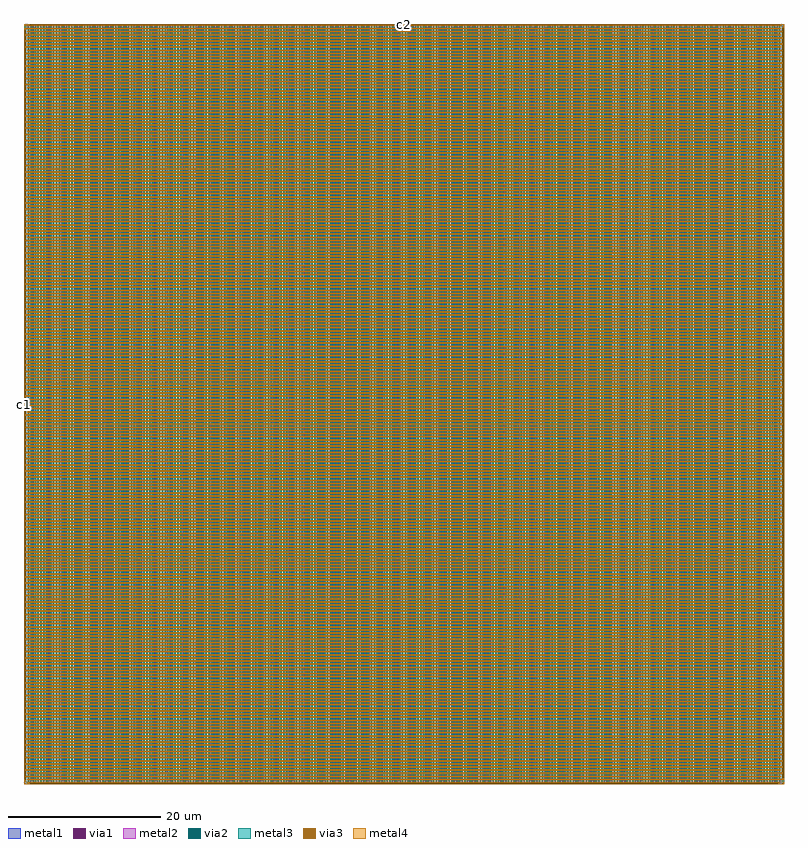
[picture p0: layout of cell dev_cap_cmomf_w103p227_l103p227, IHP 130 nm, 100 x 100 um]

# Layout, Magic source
magic
tech ihp-sg13cmos5l
magscale 1 2
<< metal1 >>
rect 0 19861 54 20000
rect 90 19999 20000 20000
rect 90 19959 136 19999
rect 19904 19959 20000 19999
rect 90 19958 20000 19959
rect 0 99 1 19861
rect 41 99 54 19861
rect 0 42 54 99
rect 90 42 122 19922
rect 158 78 190 19958
rect 226 42 258 19922
rect 294 78 326 19958
rect 362 42 394 19922
rect 430 78 462 19958
rect 498 42 530 19922
rect 566 78 598 19958
rect 634 42 666 19922
rect 702 78 734 19958
rect 770 42 802 19922
rect 838 78 870 19958
rect 906 42 938 19922
rect 974 78 1006 19958
rect 1042 42 1074 19922
rect 1110 78 1142 19958
rect 1178 42 1210 19922
rect 1246 78 1278 19958
rect 1314 42 1346 19922
rect 1382 78 1414 19958
rect 1450 42 1482 19922
rect 1518 78 1550 19958
rect 1586 42 1618 19922
rect 1654 78 1686 19958
rect 1722 42 1754 19922
rect 1790 78 1822 19958
rect 1858 42 1890 19922
rect 1926 78 1958 19958
rect 1994 42 2026 19922
rect 2062 78 2094 19958
rect 2130 42 2162 19922
rect 2198 78 2230 19958
rect 2266 42 2298 19922
rect 2334 78 2366 19958
rect 2402 42 2434 19922
rect 2470 78 2502 19958
rect 2538 42 2570 19922
rect 2606 78 2638 19958
rect 2674 42 2706 19922
rect 2742 78 2774 19958
rect 2810 42 2842 19922
rect 2878 78 2910 19958
rect 2946 42 2978 19922
rect 3014 78 3046 19958
rect 3082 42 3114 19922
rect 3150 78 3182 19958
rect 3218 42 3250 19922
rect 3286 78 3318 19958
rect 3354 42 3386 19922
rect 3422 78 3454 19958
rect 3490 42 3522 19922
rect 3558 78 3590 19958
rect 3626 42 3658 19922
rect 3694 78 3726 19958
rect 3762 42 3794 19922
rect 3830 78 3862 19958
rect 3898 42 3930 19922
rect 3966 78 3998 19958
rect 4034 42 4066 19922
rect 4102 78 4134 19958
rect 4170 42 4202 19922
rect 4238 78 4270 19958
rect 4306 42 4338 19922
rect 4374 78 4406 19958
rect 4442 42 4474 19922
rect 4510 78 4542 19958
rect 4578 42 4610 19922
rect 4646 78 4678 19958
rect 4714 42 4746 19922
rect 4782 78 4814 19958
rect 4850 42 4882 19922
rect 4918 78 4950 19958
rect 4986 42 5018 19922
rect 5054 78 5086 19958
rect 5122 42 5154 19922
rect 5190 78 5222 19958
rect 5258 42 5290 19922
rect 5326 78 5358 19958
rect 5394 42 5426 19922
rect 5462 78 5494 19958
rect 5530 42 5562 19922
rect 5598 78 5630 19958
rect 5666 42 5698 19922
rect 5734 78 5766 19958
rect 5802 42 5834 19922
rect 5870 78 5902 19958
rect 5938 42 5970 19922
rect 6006 78 6038 19958
rect 6074 42 6106 19922
rect 6142 78 6174 19958
rect 6210 42 6242 19922
rect 6278 78 6310 19958
rect 6346 42 6378 19922
rect 6414 78 6446 19958
rect 6482 42 6514 19922
rect 6550 78 6582 19958
rect 6618 42 6650 19922
rect 6686 78 6718 19958
rect 6754 42 6786 19922
rect 6822 78 6854 19958
rect 6890 42 6922 19922
rect 6958 78 6990 19958
rect 7026 42 7058 19922
rect 7094 78 7126 19958
rect 7162 42 7194 19922
rect 7230 78 7262 19958
rect 7298 42 7330 19922
rect 7366 78 7398 19958
rect 7434 42 7466 19922
rect 7502 78 7534 19958
rect 7570 42 7602 19922
rect 7638 78 7670 19958
rect 7706 42 7738 19922
rect 7774 78 7806 19958
rect 7842 42 7874 19922
rect 7910 78 7942 19958
rect 7978 42 8010 19922
rect 8046 78 8078 19958
rect 8114 42 8146 19922
rect 8182 78 8214 19958
rect 8250 42 8282 19922
rect 8318 78 8350 19958
rect 8386 42 8418 19922
rect 8454 78 8486 19958
rect 8522 42 8554 19922
rect 8590 78 8622 19958
rect 8658 42 8690 19922
rect 8726 78 8758 19958
rect 8794 42 8826 19922
rect 8862 78 8894 19958
rect 8930 42 8962 19922
rect 8998 78 9030 19958
rect 9066 42 9098 19922
rect 9134 78 9166 19958
rect 9202 42 9234 19922
rect 9270 78 9302 19958
rect 9338 42 9370 19922
rect 9406 78 9438 19958
rect 9474 42 9506 19922
rect 9542 78 9574 19958
rect 9610 42 9642 19922
rect 9678 78 9710 19958
rect 9746 42 9778 19922
rect 9814 78 9846 19958
rect 9882 42 9914 19922
rect 9950 78 9982 19958
rect 10018 42 10050 19922
rect 10086 78 10118 19958
rect 10154 42 10186 19922
rect 10222 78 10254 19958
rect 10290 42 10322 19922
rect 10358 78 10390 19958
rect 10426 42 10458 19922
rect 10494 78 10526 19958
rect 10562 42 10594 19922
rect 10630 78 10662 19958
rect 10698 42 10730 19922
rect 10766 78 10798 19958
rect 10834 42 10866 19922
rect 10902 78 10934 19958
rect 10970 42 11002 19922
rect 11038 78 11070 19958
rect 11106 42 11138 19922
rect 11174 78 11206 19958
rect 11242 42 11274 19922
rect 11310 78 11342 19958
rect 11378 42 11410 19922
rect 11446 78 11478 19958
rect 11514 42 11546 19922
rect 11582 78 11614 19958
rect 11650 42 11682 19922
rect 11718 78 11750 19958
rect 11786 42 11818 19922
rect 11854 78 11886 19958
rect 11922 42 11954 19922
rect 11990 78 12022 19958
rect 12058 42 12090 19922
rect 12126 78 12158 19958
rect 12194 42 12226 19922
rect 12262 78 12294 19958
rect 12330 42 12362 19922
rect 12398 78 12430 19958
rect 12466 42 12498 19922
rect 12534 78 12566 19958
rect 12602 42 12634 19922
rect 12670 78 12702 19958
rect 12738 42 12770 19922
rect 12806 78 12838 19958
rect 12874 42 12906 19922
rect 12942 78 12974 19958
rect 13010 42 13042 19922
rect 13078 78 13110 19958
rect 13146 42 13178 19922
rect 13214 78 13246 19958
rect 13282 42 13314 19922
rect 13350 78 13382 19958
rect 13418 42 13450 19922
rect 13486 78 13518 19958
rect 13554 42 13586 19922
rect 13622 78 13654 19958
rect 13690 42 13722 19922
rect 13758 78 13790 19958
rect 13826 42 13858 19922
rect 13894 78 13926 19958
rect 13962 42 13994 19922
rect 14030 78 14062 19958
rect 14098 42 14130 19922
rect 14166 78 14198 19958
rect 14234 42 14266 19922
rect 14302 78 14334 19958
rect 14370 42 14402 19922
rect 14438 78 14470 19958
rect 14506 42 14538 19922
rect 14574 78 14606 19958
rect 14642 42 14674 19922
rect 14710 78 14742 19958
rect 14778 42 14810 19922
rect 14846 78 14878 19958
rect 14914 42 14946 19922
rect 14982 78 15014 19958
rect 15050 42 15082 19922
rect 15118 78 15150 19958
rect 15186 42 15218 19922
rect 15254 78 15286 19958
rect 15322 42 15354 19922
rect 15390 78 15422 19958
rect 15458 42 15490 19922
rect 15526 78 15558 19958
rect 15594 42 15626 19922
rect 15662 78 15694 19958
rect 15730 42 15762 19922
rect 15798 78 15830 19958
rect 15866 42 15898 19922
rect 15934 78 15966 19958
rect 16002 42 16034 19922
rect 16070 78 16102 19958
rect 16138 42 16170 19922
rect 16206 78 16238 19958
rect 16274 42 16306 19922
rect 16342 78 16374 19958
rect 16410 42 16442 19922
rect 16478 78 16510 19958
rect 16546 42 16578 19922
rect 16614 78 16646 19958
rect 16682 42 16714 19922
rect 16750 78 16782 19958
rect 16818 42 16850 19922
rect 16886 78 16918 19958
rect 16954 42 16986 19922
rect 17022 78 17054 19958
rect 17090 42 17122 19922
rect 17158 78 17190 19958
rect 17226 42 17258 19922
rect 17294 78 17326 19958
rect 17362 42 17394 19922
rect 17430 78 17462 19958
rect 17498 42 17530 19922
rect 17566 78 17598 19958
rect 17634 42 17666 19922
rect 17702 78 17734 19958
rect 17770 42 17802 19922
rect 17838 78 17870 19958
rect 17906 42 17938 19922
rect 17974 78 18006 19958
rect 18042 42 18074 19922
rect 18110 78 18142 19958
rect 18178 42 18210 19922
rect 18246 78 18278 19958
rect 18314 42 18346 19922
rect 18382 78 18414 19958
rect 18450 42 18482 19922
rect 18518 78 18550 19958
rect 18586 42 18618 19922
rect 18654 78 18686 19958
rect 18722 42 18754 19922
rect 18790 78 18822 19958
rect 18858 42 18890 19922
rect 18926 78 18958 19958
rect 18994 42 19026 19922
rect 19062 78 19094 19958
rect 19130 42 19162 19922
rect 19198 78 19230 19958
rect 19266 42 19298 19922
rect 19334 78 19366 19958
rect 19402 42 19434 19922
rect 19470 78 19502 19958
rect 19538 42 19570 19922
rect 19606 78 19638 19958
rect 19674 42 19706 19922
rect 19742 78 19774 19958
rect 19810 42 19842 19922
rect 19878 78 19910 19958
rect 19946 19901 20000 19958
rect 19946 139 19959 19901
rect 19999 139 20000 19901
rect 0 41 19910 42
rect 0 1 136 41
rect 19864 1 19910 41
rect 0 0 19910 1
rect 19946 0 20000 139
<< via1 >>
rect 136 19959 19904 19999
rect 1 99 41 19861
rect 19959 139 19999 19901
rect 136 1 19864 41
<< metal2 >>
rect 0 19999 139 20000
rect 19901 19999 20000 20000
rect 0 19959 136 19999
rect 19904 19959 20000 19999
rect 0 19943 20000 19959
rect 19959 19901 20000 19943
rect 0 19861 19916 19901
rect 84 19779 19959 19819
rect 41 19697 19916 19737
rect 84 19615 19959 19655
rect 41 19533 19916 19573
rect 84 19451 19959 19491
rect 41 19369 19916 19409
rect 84 19287 19959 19327
rect 41 19205 19916 19245
rect 84 19123 19959 19163
rect 41 19041 19916 19081
rect 84 18959 19959 18999
rect 41 18877 19916 18917
rect 84 18795 19959 18835
rect 41 18713 19916 18753
rect 84 18631 19959 18671
rect 41 18549 19916 18589
rect 84 18467 19959 18507
rect 41 18385 19916 18425
rect 84 18303 19959 18343
rect 41 18221 19916 18261
rect 84 18139 19959 18179
rect 41 18057 19916 18097
rect 84 17975 19959 18015
rect 41 17893 19916 17933
rect 84 17811 19959 17851
rect 41 17729 19916 17769
rect 84 17647 19959 17687
rect 41 17565 19916 17605
rect 84 17483 19959 17523
rect 41 17401 19916 17441
rect 84 17319 19959 17359
rect 41 17237 19916 17277
rect 84 17155 19959 17195
rect 41 17073 19916 17113
rect 84 16991 19959 17031
rect 41 16909 19916 16949
rect 84 16827 19959 16867
rect 41 16745 19916 16785
rect 84 16663 19959 16703
rect 41 16581 19916 16621
rect 84 16499 19959 16539
rect 41 16417 19916 16457
rect 84 16335 19959 16375
rect 41 16253 19916 16293
rect 84 16171 19959 16211
rect 41 16089 19916 16129
rect 84 16007 19959 16047
rect 41 15925 19916 15965
rect 84 15843 19959 15883
rect 41 15761 19916 15801
rect 84 15679 19959 15719
rect 41 15597 19916 15637
rect 84 15515 19959 15555
rect 41 15433 19916 15473
rect 84 15351 19959 15391
rect 41 15269 19916 15309
rect 84 15187 19959 15227
rect 41 15105 19916 15145
rect 84 15023 19959 15063
rect 41 14941 19916 14981
rect 84 14859 19959 14899
rect 41 14777 19916 14817
rect 84 14695 19959 14735
rect 41 14613 19916 14653
rect 84 14531 19959 14571
rect 41 14449 19916 14489
rect 84 14367 19959 14407
rect 41 14285 19916 14325
rect 84 14203 19959 14243
rect 41 14121 19916 14161
rect 84 14039 19959 14079
rect 41 13957 19916 13997
rect 84 13875 19959 13915
rect 41 13793 19916 13833
rect 84 13711 19959 13751
rect 41 13629 19916 13669
rect 84 13547 19959 13587
rect 41 13465 19916 13505
rect 84 13383 19959 13423
rect 41 13301 19916 13341
rect 84 13219 19959 13259
rect 41 13137 19916 13177
rect 84 13055 19959 13095
rect 41 12973 19916 13013
rect 84 12891 19959 12931
rect 41 12809 19916 12849
rect 84 12727 19959 12767
rect 41 12645 19916 12685
rect 84 12563 19959 12603
rect 41 12481 19916 12521
rect 84 12399 19959 12439
rect 41 12317 19916 12357
rect 84 12235 19959 12275
rect 41 12153 19916 12193
rect 84 12071 19959 12111
rect 41 11989 19916 12029
rect 84 11907 19959 11947
rect 41 11825 19916 11865
rect 84 11743 19959 11783
rect 41 11661 19916 11701
rect 84 11579 19959 11619
rect 41 11497 19916 11537
rect 84 11415 19959 11455
rect 41 11333 19916 11373
rect 84 11251 19959 11291
rect 41 11169 19916 11209
rect 84 11087 19959 11127
rect 41 11005 19916 11045
rect 84 10923 19959 10963
rect 41 10841 19916 10881
rect 84 10759 19959 10799
rect 41 10677 19916 10717
rect 84 10595 19959 10635
rect 41 10513 19916 10553
rect 84 10431 19959 10471
rect 41 10349 19916 10389
rect 84 10267 19959 10307
rect 41 10185 19916 10225
rect 84 10103 19959 10143
rect 41 10021 19916 10061
rect 84 9939 19959 9979
rect 41 9857 19916 9897
rect 84 9775 19959 9815
rect 41 9693 19916 9733
rect 84 9611 19959 9651
rect 41 9529 19916 9569
rect 84 9447 19959 9487
rect 41 9365 19916 9405
rect 84 9283 19959 9323
rect 41 9201 19916 9241
rect 84 9119 19959 9159
rect 41 9037 19916 9077
rect 84 8955 19959 8995
rect 41 8873 19916 8913
rect 84 8791 19959 8831
rect 41 8709 19916 8749
rect 84 8627 19959 8667
rect 41 8545 19916 8585
rect 84 8463 19959 8503
rect 41 8381 19916 8421
rect 84 8299 19959 8339
rect 41 8217 19916 8257
rect 84 8135 19959 8175
rect 41 8053 19916 8093
rect 84 7971 19959 8011
rect 41 7889 19916 7929
rect 84 7807 19959 7847
rect 41 7725 19916 7765
rect 84 7643 19959 7683
rect 41 7561 19916 7601
rect 84 7479 19959 7519
rect 41 7397 19916 7437
rect 84 7315 19959 7355
rect 41 7233 19916 7273
rect 84 7151 19959 7191
rect 41 7069 19916 7109
rect 84 6987 19959 7027
rect 41 6905 19916 6945
rect 84 6823 19959 6863
rect 41 6741 19916 6781
rect 84 6659 19959 6699
rect 41 6577 19916 6617
rect 84 6495 19959 6535
rect 41 6413 19916 6453
rect 84 6331 19959 6371
rect 41 6249 19916 6289
rect 84 6167 19959 6207
rect 41 6085 19916 6125
rect 84 6003 19959 6043
rect 41 5921 19916 5961
rect 84 5839 19959 5879
rect 41 5757 19916 5797
rect 84 5675 19959 5715
rect 41 5593 19916 5633
rect 84 5511 19959 5551
rect 41 5429 19916 5469
rect 84 5347 19959 5387
rect 41 5265 19916 5305
rect 84 5183 19959 5223
rect 41 5101 19916 5141
rect 84 5019 19959 5059
rect 41 4937 19916 4977
rect 84 4855 19959 4895
rect 41 4773 19916 4813
rect 84 4691 19959 4731
rect 41 4609 19916 4649
rect 84 4527 19959 4567
rect 41 4445 19916 4485
rect 84 4363 19959 4403
rect 41 4281 19916 4321
rect 84 4199 19959 4239
rect 41 4117 19916 4157
rect 84 4035 19959 4075
rect 41 3953 19916 3993
rect 84 3871 19959 3911
rect 41 3789 19916 3829
rect 84 3707 19959 3747
rect 41 3625 19916 3665
rect 84 3543 19959 3583
rect 41 3461 19916 3501
rect 84 3379 19959 3419
rect 41 3297 19916 3337
rect 84 3215 19959 3255
rect 41 3133 19916 3173
rect 84 3051 19959 3091
rect 41 2969 19916 3009
rect 84 2887 19959 2927
rect 41 2805 19916 2845
rect 84 2723 19959 2763
rect 41 2641 19916 2681
rect 84 2559 19959 2599
rect 41 2477 19916 2517
rect 84 2395 19959 2435
rect 41 2313 19916 2353
rect 84 2231 19959 2271
rect 41 2149 19916 2189
rect 84 2067 19959 2107
rect 41 1985 19916 2025
rect 84 1903 19959 1943
rect 41 1821 19916 1861
rect 84 1739 19959 1779
rect 41 1657 19916 1697
rect 84 1575 19959 1615
rect 41 1493 19916 1533
rect 84 1411 19959 1451
rect 41 1329 19916 1369
rect 84 1247 19959 1287
rect 41 1165 19916 1205
rect 84 1083 19959 1123
rect 41 1001 19916 1041
rect 84 919 19959 959
rect 41 837 19916 877
rect 84 755 19959 795
rect 41 673 19916 713
rect 84 591 19959 631
rect 41 509 19916 549
rect 84 427 19959 467
rect 41 345 19916 385
rect 84 263 19959 303
rect 41 181 19916 221
rect 84 99 20000 139
rect 0 57 41 99
rect 0 41 20000 57
rect 0 1 136 41
rect 19864 1 20000 41
rect 0 0 139 1
rect 19861 0 20000 1
<< via2 >>
rect 139 19999 19901 20000
rect 139 19960 19901 19999
rect 0 99 1 19861
rect 1 99 40 19861
rect 19960 139 19999 19901
rect 19999 139 20000 19901
rect 139 1 19861 40
rect 139 0 19861 1
<< metal3 >>
rect 0 19861 57 20000
rect 99 19960 139 20000
rect 19901 19960 20000 20000
rect 40 99 57 19861
rect 0 40 57 99
rect 99 40 139 19918
rect 181 82 221 19960
rect 263 40 303 19918
rect 345 82 385 19960
rect 427 40 467 19918
rect 509 82 549 19960
rect 591 40 631 19918
rect 673 82 713 19960
rect 755 40 795 19918
rect 837 82 877 19960
rect 919 40 959 19918
rect 1001 82 1041 19960
rect 1083 40 1123 19918
rect 1165 82 1205 19960
rect 1247 40 1287 19918
rect 1329 82 1369 19960
rect 1411 40 1451 19918
rect 1493 82 1533 19960
rect 1575 40 1615 19918
rect 1657 82 1697 19960
rect 1739 40 1779 19918
rect 1821 82 1861 19960
rect 1903 40 1943 19918
rect 1985 82 2025 19960
rect 2067 40 2107 19918
rect 2149 82 2189 19960
rect 2231 40 2271 19918
rect 2313 82 2353 19960
rect 2395 40 2435 19918
rect 2477 82 2517 19960
rect 2559 40 2599 19918
rect 2641 82 2681 19960
rect 2723 40 2763 19918
rect 2805 82 2845 19960
rect 2887 40 2927 19918
rect 2969 82 3009 19960
rect 3051 40 3091 19918
rect 3133 82 3173 19960
rect 3215 40 3255 19918
rect 3297 82 3337 19960
rect 3379 40 3419 19918
rect 3461 82 3501 19960
rect 3543 40 3583 19918
rect 3625 82 3665 19960
rect 3707 40 3747 19918
rect 3789 82 3829 19960
rect 3871 40 3911 19918
rect 3953 82 3993 19960
rect 4035 40 4075 19918
rect 4117 82 4157 19960
rect 4199 40 4239 19918
rect 4281 82 4321 19960
rect 4363 40 4403 19918
rect 4445 82 4485 19960
rect 4527 40 4567 19918
rect 4609 82 4649 19960
rect 4691 40 4731 19918
rect 4773 82 4813 19960
rect 4855 40 4895 19918
rect 4937 82 4977 19960
rect 5019 40 5059 19918
rect 5101 82 5141 19960
rect 5183 40 5223 19918
rect 5265 82 5305 19960
rect 5347 40 5387 19918
rect 5429 82 5469 19960
rect 5511 40 5551 19918
rect 5593 82 5633 19960
rect 5675 40 5715 19918
rect 5757 82 5797 19960
rect 5839 40 5879 19918
rect 5921 82 5961 19960
rect 6003 40 6043 19918
rect 6085 82 6125 19960
rect 6167 40 6207 19918
rect 6249 82 6289 19960
rect 6331 40 6371 19918
rect 6413 82 6453 19960
rect 6495 40 6535 19918
rect 6577 82 6617 19960
rect 6659 40 6699 19918
rect 6741 82 6781 19960
rect 6823 40 6863 19918
rect 6905 82 6945 19960
rect 6987 40 7027 19918
rect 7069 82 7109 19960
rect 7151 40 7191 19918
rect 7233 82 7273 19960
rect 7315 40 7355 19918
rect 7397 82 7437 19960
rect 7479 40 7519 19918
rect 7561 82 7601 19960
rect 7643 40 7683 19918
rect 7725 82 7765 19960
rect 7807 40 7847 19918
rect 7889 82 7929 19960
rect 7971 40 8011 19918
rect 8053 82 8093 19960
rect 8135 40 8175 19918
rect 8217 82 8257 19960
rect 8299 40 8339 19918
rect 8381 82 8421 19960
rect 8463 40 8503 19918
rect 8545 82 8585 19960
rect 8627 40 8667 19918
rect 8709 82 8749 19960
rect 8791 40 8831 19918
rect 8873 82 8913 19960
rect 8955 40 8995 19918
rect 9037 82 9077 19960
rect 9119 40 9159 19918
rect 9201 82 9241 19960
rect 9283 40 9323 19918
rect 9365 82 9405 19960
rect 9447 40 9487 19918
rect 9529 82 9569 19960
rect 9611 40 9651 19918
rect 9693 82 9733 19960
rect 9775 40 9815 19918
rect 9857 82 9897 19960
rect 9939 40 9979 19918
rect 10021 82 10061 19960
rect 10103 40 10143 19918
rect 10185 82 10225 19960
rect 10267 40 10307 19918
rect 10349 82 10389 19960
rect 10431 40 10471 19918
rect 10513 82 10553 19960
rect 10595 40 10635 19918
rect 10677 82 10717 19960
rect 10759 40 10799 19918
rect 10841 82 10881 19960
rect 10923 40 10963 19918
rect 11005 82 11045 19960
rect 11087 40 11127 19918
rect 11169 82 11209 19960
rect 11251 40 11291 19918
rect 11333 82 11373 19960
rect 11415 40 11455 19918
rect 11497 82 11537 19960
rect 11579 40 11619 19918
rect 11661 82 11701 19960
rect 11743 40 11783 19918
rect 11825 82 11865 19960
rect 11907 40 11947 19918
rect 11989 82 12029 19960
rect 12071 40 12111 19918
rect 12153 82 12193 19960
rect 12235 40 12275 19918
rect 12317 82 12357 19960
rect 12399 40 12439 19918
rect 12481 82 12521 19960
rect 12563 40 12603 19918
rect 12645 82 12685 19960
rect 12727 40 12767 19918
rect 12809 82 12849 19960
rect 12891 40 12931 19918
rect 12973 82 13013 19960
rect 13055 40 13095 19918
rect 13137 82 13177 19960
rect 13219 40 13259 19918
rect 13301 82 13341 19960
rect 13383 40 13423 19918
rect 13465 82 13505 19960
rect 13547 40 13587 19918
rect 13629 82 13669 19960
rect 13711 40 13751 19918
rect 13793 82 13833 19960
rect 13875 40 13915 19918
rect 13957 82 13997 19960
rect 14039 40 14079 19918
rect 14121 82 14161 19960
rect 14203 40 14243 19918
rect 14285 82 14325 19960
rect 14367 40 14407 19918
rect 14449 82 14489 19960
rect 14531 40 14571 19918
rect 14613 82 14653 19960
rect 14695 40 14735 19918
rect 14777 82 14817 19960
rect 14859 40 14899 19918
rect 14941 82 14981 19960
rect 15023 40 15063 19918
rect 15105 82 15145 19960
rect 15187 40 15227 19918
rect 15269 82 15309 19960
rect 15351 40 15391 19918
rect 15433 82 15473 19960
rect 15515 40 15555 19918
rect 15597 82 15637 19960
rect 15679 40 15719 19918
rect 15761 82 15801 19960
rect 15843 40 15883 19918
rect 15925 82 15965 19960
rect 16007 40 16047 19918
rect 16089 82 16129 19960
rect 16171 40 16211 19918
rect 16253 82 16293 19960
rect 16335 40 16375 19918
rect 16417 82 16457 19960
rect 16499 40 16539 19918
rect 16581 82 16621 19960
rect 16663 40 16703 19918
rect 16745 82 16785 19960
rect 16827 40 16867 19918
rect 16909 82 16949 19960
rect 16991 40 17031 19918
rect 17073 82 17113 19960
rect 17155 40 17195 19918
rect 17237 82 17277 19960
rect 17319 40 17359 19918
rect 17401 82 17441 19960
rect 17483 40 17523 19918
rect 17565 82 17605 19960
rect 17647 40 17687 19918
rect 17729 82 17769 19960
rect 17811 40 17851 19918
rect 17893 82 17933 19960
rect 17975 40 18015 19918
rect 18057 82 18097 19960
rect 18139 40 18179 19918
rect 18221 82 18261 19960
rect 18303 40 18343 19918
rect 18385 82 18425 19960
rect 18467 40 18507 19918
rect 18549 82 18589 19960
rect 18631 40 18671 19918
rect 18713 82 18753 19960
rect 18795 40 18835 19918
rect 18877 82 18917 19960
rect 18959 40 18999 19918
rect 19041 82 19081 19960
rect 19123 40 19163 19918
rect 19205 82 19245 19960
rect 19287 40 19327 19918
rect 19369 82 19409 19960
rect 19451 40 19491 19918
rect 19533 82 19573 19960
rect 19615 40 19655 19918
rect 19697 82 19737 19960
rect 19779 40 19819 19918
rect 19861 82 19901 19960
rect 19943 19901 20000 19960
rect 19943 139 19960 19901
rect 0 0 139 40
rect 19861 0 19901 40
rect 19943 0 20000 139
<< via3 >>
rect 139 19960 19901 20000
rect 0 99 40 19861
rect 19960 139 20000 19901
rect 139 0 19861 40
<< metal4 >>
rect 0 19960 139 20000
rect 19901 19960 20000 20000
rect 0 19943 20000 19960
rect 19960 19901 20000 19943
rect 0 19861 19918 19901
rect 82 19779 19960 19819
rect 40 19697 19918 19737
rect 82 19615 19960 19655
rect 40 19533 19918 19573
rect 82 19451 19960 19491
rect 40 19369 19918 19409
rect 82 19287 19960 19327
rect 40 19205 19918 19245
rect 82 19123 19960 19163
rect 40 19041 19918 19081
rect 82 18959 19960 18999
rect 40 18877 19918 18917
rect 82 18795 19960 18835
rect 40 18713 19918 18753
rect 82 18631 19960 18671
rect 40 18549 19918 18589
rect 82 18467 19960 18507
rect 40 18385 19918 18425
rect 82 18303 19960 18343
rect 40 18221 19918 18261
rect 82 18139 19960 18179
rect 40 18057 19918 18097
rect 82 17975 19960 18015
rect 40 17893 19918 17933
rect 82 17811 19960 17851
rect 40 17729 19918 17769
rect 82 17647 19960 17687
rect 40 17565 19918 17605
rect 82 17483 19960 17523
rect 40 17401 19918 17441
rect 82 17319 19960 17359
rect 40 17237 19918 17277
rect 82 17155 19960 17195
rect 40 17073 19918 17113
rect 82 16991 19960 17031
rect 40 16909 19918 16949
rect 82 16827 19960 16867
rect 40 16745 19918 16785
rect 82 16663 19960 16703
rect 40 16581 19918 16621
rect 82 16499 19960 16539
rect 40 16417 19918 16457
rect 82 16335 19960 16375
rect 40 16253 19918 16293
rect 82 16171 19960 16211
rect 40 16089 19918 16129
rect 82 16007 19960 16047
rect 40 15925 19918 15965
rect 82 15843 19960 15883
rect 40 15761 19918 15801
rect 82 15679 19960 15719
rect 40 15597 19918 15637
rect 82 15515 19960 15555
rect 40 15433 19918 15473
rect 82 15351 19960 15391
rect 40 15269 19918 15309
rect 82 15187 19960 15227
rect 40 15105 19918 15145
rect 82 15023 19960 15063
rect 40 14941 19918 14981
rect 82 14859 19960 14899
rect 40 14777 19918 14817
rect 82 14695 19960 14735
rect 40 14613 19918 14653
rect 82 14531 19960 14571
rect 40 14449 19918 14489
rect 82 14367 19960 14407
rect 40 14285 19918 14325
rect 82 14203 19960 14243
rect 40 14121 19918 14161
rect 82 14039 19960 14079
rect 40 13957 19918 13997
rect 82 13875 19960 13915
rect 40 13793 19918 13833
rect 82 13711 19960 13751
rect 40 13629 19918 13669
rect 82 13547 19960 13587
rect 40 13465 19918 13505
rect 82 13383 19960 13423
rect 40 13301 19918 13341
rect 82 13219 19960 13259
rect 40 13137 19918 13177
rect 82 13055 19960 13095
rect 40 12973 19918 13013
rect 82 12891 19960 12931
rect 40 12809 19918 12849
rect 82 12727 19960 12767
rect 40 12645 19918 12685
rect 82 12563 19960 12603
rect 40 12481 19918 12521
rect 82 12399 19960 12439
rect 40 12317 19918 12357
rect 82 12235 19960 12275
rect 40 12153 19918 12193
rect 82 12071 19960 12111
rect 40 11989 19918 12029
rect 82 11907 19960 11947
rect 40 11825 19918 11865
rect 82 11743 19960 11783
rect 40 11661 19918 11701
rect 82 11579 19960 11619
rect 40 11497 19918 11537
rect 82 11415 19960 11455
rect 40 11333 19918 11373
rect 82 11251 19960 11291
rect 40 11169 19918 11209
rect 82 11087 19960 11127
rect 40 11005 19918 11045
rect 82 10923 19960 10963
rect 40 10841 19918 10881
rect 82 10759 19960 10799
rect 40 10677 19918 10717
rect 82 10595 19960 10635
rect 40 10513 19918 10553
rect 82 10431 19960 10471
rect 40 10349 19918 10389
rect 82 10267 19960 10307
rect 40 10185 19918 10225
rect 82 10103 19960 10143
rect 40 10021 19918 10061
rect 82 9939 19960 9979
rect 40 9857 19918 9897
rect 82 9775 19960 9815
rect 40 9693 19918 9733
rect 82 9611 19960 9651
rect 40 9529 19918 9569
rect 82 9447 19960 9487
rect 40 9365 19918 9405
rect 82 9283 19960 9323
rect 40 9201 19918 9241
rect 82 9119 19960 9159
rect 40 9037 19918 9077
rect 82 8955 19960 8995
rect 40 8873 19918 8913
rect 82 8791 19960 8831
rect 40 8709 19918 8749
rect 82 8627 19960 8667
rect 40 8545 19918 8585
rect 82 8463 19960 8503
rect 40 8381 19918 8421
rect 82 8299 19960 8339
rect 40 8217 19918 8257
rect 82 8135 19960 8175
rect 40 8053 19918 8093
rect 82 7971 19960 8011
rect 40 7889 19918 7929
rect 82 7807 19960 7847
rect 40 7725 19918 7765
rect 82 7643 19960 7683
rect 40 7561 19918 7601
rect 82 7479 19960 7519
rect 40 7397 19918 7437
rect 82 7315 19960 7355
rect 40 7233 19918 7273
rect 82 7151 19960 7191
rect 40 7069 19918 7109
rect 82 6987 19960 7027
rect 40 6905 19918 6945
rect 82 6823 19960 6863
rect 40 6741 19918 6781
rect 82 6659 19960 6699
rect 40 6577 19918 6617
rect 82 6495 19960 6535
rect 40 6413 19918 6453
rect 82 6331 19960 6371
rect 40 6249 19918 6289
rect 82 6167 19960 6207
rect 40 6085 19918 6125
rect 82 6003 19960 6043
rect 40 5921 19918 5961
rect 82 5839 19960 5879
rect 40 5757 19918 5797
rect 82 5675 19960 5715
rect 40 5593 19918 5633
rect 82 5511 19960 5551
rect 40 5429 19918 5469
rect 82 5347 19960 5387
rect 40 5265 19918 5305
rect 82 5183 19960 5223
rect 40 5101 19918 5141
rect 82 5019 19960 5059
rect 40 4937 19918 4977
rect 82 4855 19960 4895
rect 40 4773 19918 4813
rect 82 4691 19960 4731
rect 40 4609 19918 4649
rect 82 4527 19960 4567
rect 40 4445 19918 4485
rect 82 4363 19960 4403
rect 40 4281 19918 4321
rect 82 4199 19960 4239
rect 40 4117 19918 4157
rect 82 4035 19960 4075
rect 40 3953 19918 3993
rect 82 3871 19960 3911
rect 40 3789 19918 3829
rect 82 3707 19960 3747
rect 40 3625 19918 3665
rect 82 3543 19960 3583
rect 40 3461 19918 3501
rect 82 3379 19960 3419
rect 40 3297 19918 3337
rect 82 3215 19960 3255
rect 40 3133 19918 3173
rect 82 3051 19960 3091
rect 40 2969 19918 3009
rect 82 2887 19960 2927
rect 40 2805 19918 2845
rect 82 2723 19960 2763
rect 40 2641 19918 2681
rect 82 2559 19960 2599
rect 40 2477 19918 2517
rect 82 2395 19960 2435
rect 40 2313 19918 2353
rect 82 2231 19960 2271
rect 40 2149 19918 2189
rect 82 2067 19960 2107
rect 40 1985 19918 2025
rect 82 1903 19960 1943
rect 40 1821 19918 1861
rect 82 1739 19960 1779
rect 40 1657 19918 1697
rect 82 1575 19960 1615
rect 40 1493 19918 1533
rect 82 1411 19960 1451
rect 40 1329 19918 1369
rect 82 1247 19960 1287
rect 40 1165 19918 1205
rect 82 1083 19960 1123
rect 40 1001 19918 1041
rect 82 919 19960 959
rect 40 837 19918 877
rect 82 755 19960 795
rect 40 673 19918 713
rect 82 591 19960 631
rect 40 509 19918 549
rect 82 427 19960 467
rect 40 345 19918 385
rect 82 263 19960 303
rect 40 181 19918 221
rect 82 99 20000 139
rect 0 57 40 99
rect 0 40 20000 57
rect 0 0 139 40
rect 19861 0 20000 40
<< labels >>
rlabel via3 2 10000 2 10000 0 c1
port 1 nsew
rlabel via3 10000 19998 10000 19998 0 c2
port 2 nsew
<< properties >>
string device devcap None 0 0 1 1 14163.8220 c1 0 0 c2 0 0
string FIXED_BBOX 0 0 20000 20000
string gencell cap_cmomf
string library sg13cmos5l
string parameters w 100.0 l 100.0 value 9.28 class capacitor mmin metal1 mmax metal4 square 1 subblock 0 lmin 2.00 wmin 2.00 lmax 100.0 wmax 100.0
<< end >>
